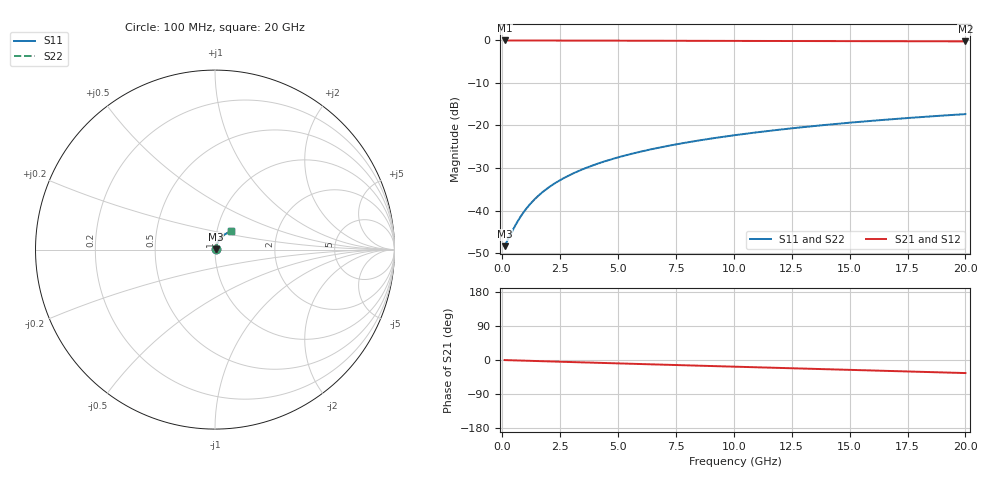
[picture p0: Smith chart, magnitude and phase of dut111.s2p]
! Touchstone file exported from HFSS 2026.1.0
!  File:  C:/ffzhzh/LocalFiles/Ansys_Project_Files/temp_train_TMRDL_111_1782982459_6248.aedt
!  Generated:  04:55:26 PM Jul  2, 2026
!  Design:  TMRDL
!  Project:  temp_train_TMRDL_111_1782982459_6248
! Variables:
!  h_bsmrdl = 2um
!  h_ox = 20um
!  h_rdl = 5um
!  h_sub = 80um
!  h_tmrdl = 5.96um
!  h_tsv = 80um
!  h_via = 3um
!  l_bsmrdl = 300um
!  l_sub = 1020.47um
!  l_tmrdl = 620.47um
!  m_sub = 200um
!  pitch = 17.61um
!  r_tsv = 6um
!  s_tmrdl = 10um
!  w_bsmrdl = 18um
!  w_sub = 500um
!  w_tmrdl = 10.33um
!  x_tsv_center1 = 625.635um
!  x_tsv_center2 = 943.635um
!  x_tsv_center3 = 1574.435um
!  x_tsv_center4 = 1892.435um
!  x_tsv_center5 = 2523.235um
!  x_tsv_center6 = 2841.235um
# GHz S MA R 50.000000
! Terminal data exported
! Port[1] = TM_RDL1_1_T1
! Port[2] = TM_RDL1_1_T2
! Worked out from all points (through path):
!   200 points, 100 MHz to 20 GHz, reference 50 ohm
!   highest |S21| = -0.03 dB at 100 MHz (marker M1); lowest = -0.2 dB at 20 GHz (marker M2)
!   group delay of S21, straight-line fit = 4.76 ps
!   lowest |S11| = -48.3 dB at 100 MHz (marker M3), VSWR 1.01, Z = 50.4 + j0.116 ohm
!   |S11| at or under -10 dB: start of sweep to end of sweep
!   |S22| runs from -48.3 to -17.3 dB; largest |S21 - S12| = 2.1e-15
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0.1  0.003827 17.5  0.9964 -0.2  0.9964 -0.2  0.003827 17.5
! Gamma 0 0 0 0
! Port Impedance 50 0 50 0
0.2  0.004356 28.3  0.9962 -0.4  0.9962 -0.4  0.004216 28.4
0.5  0.006248 48.8  0.9957 -0.9  0.9957 -0.9  0.006169 50.5
0.7  0.007776 56.4  0.9955 -1.3  0.9955 -1.3  0.007784 57.8
0.8  0.008584 59.0  0.9954 -1.5  0.9954 -1.5  0.008625 60.2
0.9  0.009409 61.1  0.9953 -1.7  0.9953 -1.7  0.009477 62.2
1.1  0.01109 64.2  0.9952 -2.0  0.9952 -2.0  0.01119 64.9
1.4  0.01364 67.1  0.9949 -2.6  0.9949 -2.6  0.01376 67.4
1.8  0.01703 69.1  0.9945 -3.3  0.9945 -3.3  0.01713 69.1
2.3  0.0212 70.2  0.994 -4.2  0.994 -4.2  0.02126 70.1
2.9  0.02608 70.5  0.9933 -5.3  0.9933 -5.3  0.0261 70.4
3.5  0.03083 70.3  0.9925 -6.3  0.9925 -6.3  0.03084 70.3
4.2  0.03623 69.8  0.9915 -7.6  0.9915 -7.6  0.03622 69.8
5  0.04222 69.0  0.9903 -9.0  0.9903 -9.0  0.04221 69.0
5.9  0.04877 67.9  0.989 -10.5  0.989 -10.5  0.04876 67.9
6.8  0.05514 66.7  0.9878 -12.1  0.9878 -12.1  0.05513 66.8
8.3  0.06543 64.8  0.9859 -14.7  0.9859 -14.7  0.06541 64.8
10.1  0.07733 62.3  0.9837 -17.8  0.9837 -17.8  0.07731 62.4
11.7  0.08758 60.1  0.9818 -20.5  0.9818 -20.5  0.08755 60.1
13.4  0.09816 57.7  0.9798 -23.4  0.9798 -23.4  0.09812 57.7
16.7  0.1178 52.8  0.976 -28.9  0.976 -28.9  0.1177 53.0
20  0.136 47.9  0.9723 -34.5  0.9723 -34.5  0.1359 48.0
